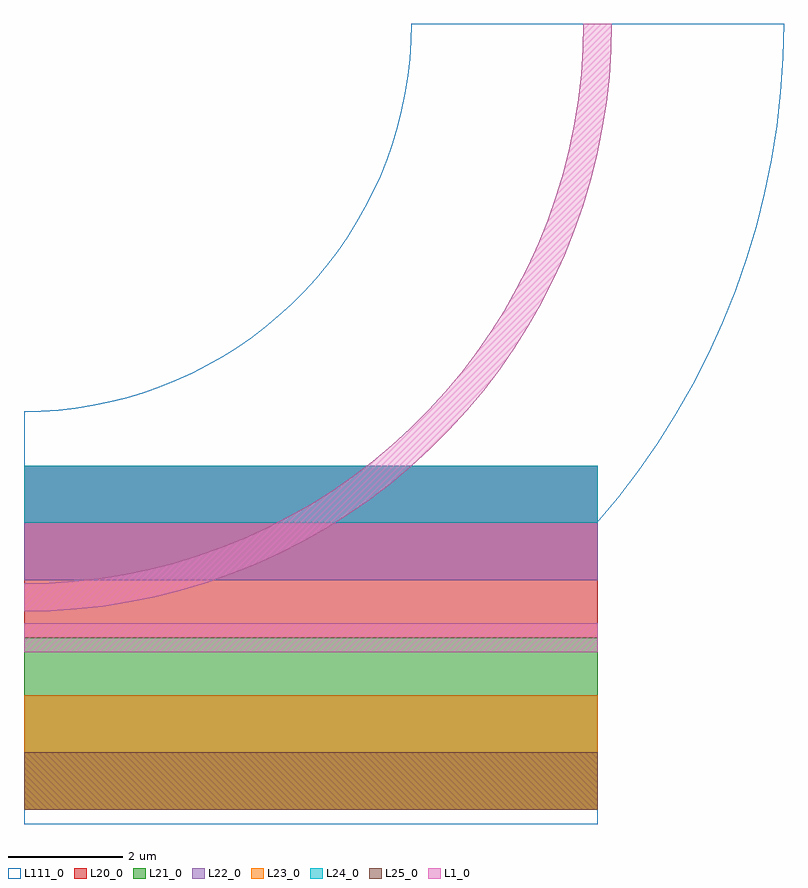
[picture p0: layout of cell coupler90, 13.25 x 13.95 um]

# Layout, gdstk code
import gdstk
lib = gdstk.Library(unit=1e-6, precision=1e-09)
def R(c, l, rs):  # rectangles x0, y0, x1, y1
    for r in rs: c.add(gdstk.rectangle(r[:2], r[2:], *l))
def P(c, l, *ps):  # polygons
    for p in ps: c.add(gdstk.Polygon(p, *l))
L1_0 = (1, 0)
L20_0 = (20, 0)
L21_0 = (21, 0)
L22_0 = (22, 0)
L23_0 = (23, 0)
L24_0 = (24, 0)
L25_0 = (25, 0)
L111_0 = (111, 0)

coupler90 = lib.new_cell('coupler90')
R(coupler90, L1_0, [(0,-0.25,10,0.25)])
P(coupler90, L1_0, [(9.75,10.7),(9.74,10.263),(9.711,9.826),(9.662,9.391),(9.593,8.959),(9.506,8.53),(9.399,8.106),(9.273,7.687),(9.128,7.274),(8.965,6.868),(8.784,6.47),(8.586,6.08),(8.37,5.699),(8.137,5.329),(7.888,4.969),(7.623,4.621),(7.342,4.285),(7.047,3.962),(6.738,3.653),(6.415,3.358),(6.079,3.077),(5.731,2.812),(5.371,2.563),(5.001,2.33),(4.62,2.114),(4.23,1.916),(3.832,1.735),(3.426,1.572),(3.013,1.427),(2.594,1.301),(2.17,1.194),(1.741,1.107),(1.309,1.038),(0.874,0.989),(0.437,0.96),(0,0.95),(0,0.45),(0.46,0.46),(0.919,0.491),(1.376,0.543),(1.83,0.615),(2.281,0.707),(2.727,0.819),(3.167,0.952),(3.602,1.104),(4.029,1.275),(4.447,1.465),(4.857,1.674),(5.257,1.901),(5.647,2.146),(6.025,2.408),(6.391,2.686),(6.744,2.981),(7.083,3.291),(7.409,3.617),(7.719,3.956),(8.014,4.309),(8.292,4.675),(8.554,5.053),(8.799,5.443),(9.026,5.843),(9.235,6.253),(9.425,6.671),(9.596,7.098),(9.748,7.533),(9.881,7.973),(9.993,8.419),(10.085,8.87),(10.157,9.324),(10.209,9.781),(10.24,10.24),(10.25,10.7)])
R(coupler90, L20_0, [(0,0,10,3), (0,0,10,3)])
R(coupler90, L21_0, [(0,-3,10,0), (0,-3,10,0)])
R(coupler90, L22_0, [(0,1,10,3), (0,1,10,3)])
R(coupler90, L23_0, [(0,-3,10,-1), (0,-3,10,-1)])
R(coupler90, L24_0, [(0,2,10,3), (0,2,10,3)])
R(coupler90, L25_0, [(0,-3,10,-2), (0,-3,10,-2)])
R(coupler90, L111_0, [(0,-3.25,10,3.25)])
P(coupler90, L111_0, [(6.75,10.7),(6.743,10.397),(6.723,10.095),(6.689,9.794),(6.642,9.495),(6.581,9.198),(6.507,8.904),(6.42,8.614),(6.32,8.328),(6.207,8.047),(6.082,7.771),(5.944,7.501),(5.795,7.238),(5.633,6.981),(5.461,6.732),(5.277,6.491),(5.083,6.259),(4.879,6.035),(4.665,5.821),(4.441,5.617),(4.209,5.423),(3.968,5.239),(3.719,5.067),(3.462,4.905),(3.199,4.756),(2.929,4.618),(2.653,4.493),(2.372,4.38),(2.086,4.28),(1.796,4.193),(1.502,4.119),(1.205,4.058),(0.906,4.011),(0.605,3.977),(0.303,3.957),(0,3.95),(0,-2.55),(0.594,-2.537),(1.188,-2.497),(1.779,-2.43),(2.366,-2.337),(2.948,-2.218),(3.525,-2.073),(4.094,-1.901),(4.656,-1.705),(5.208,-1.484),(5.749,-1.238),(6.279,-0.968),(6.796,-0.674),(7.299,-0.358),(7.788,-0.019),(8.261,0.341),(8.718,0.722),(9.157,1.123),(9.577,1.543),(9.978,1.982),(10.359,2.439),(10.719,2.912),(11.058,3.401),(11.374,3.904),(11.668,4.421),(11.938,4.951),(12.184,5.492),(12.405,6.044),(12.601,6.606),(12.773,7.175),(12.918,7.752),(13.037,8.334),(13.13,8.921),(13.197,9.512),(13.237,10.106),(13.25,10.7)])

lib.write_gds('coupler90.gds')
